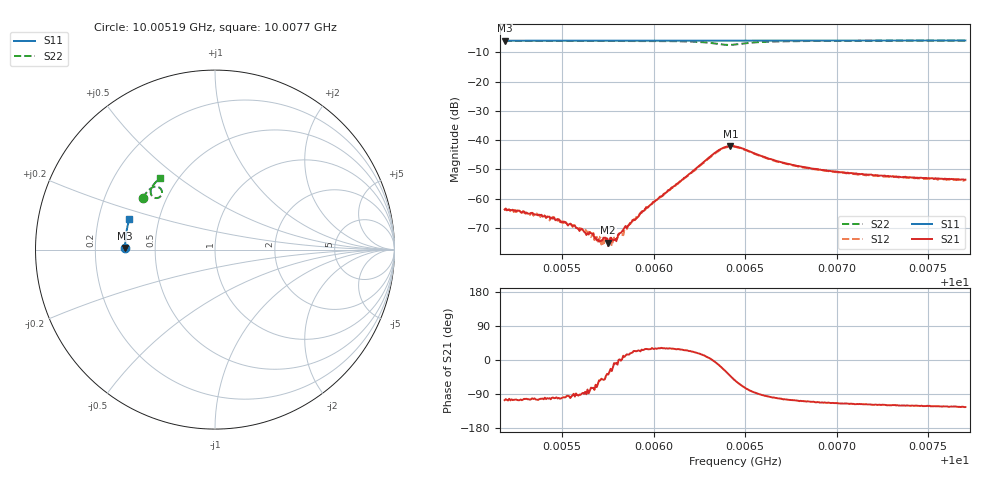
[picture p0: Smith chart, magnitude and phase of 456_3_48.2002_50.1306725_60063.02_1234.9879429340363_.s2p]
#  HZ  S  RI  R  50.00
! Rohde & Schwarz Vector Network Analyzer
! Rohde-Schwarz,ZNB20-2Port,1311601062101988,3.16
! Created: UTC 3/20/2024, 11:56:33 AM
! freq[Hz]  re:S11  im:S11  re:S21  im:S21  re:S12  im:S12  re:S22  im:S22
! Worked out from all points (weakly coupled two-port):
!   401 points, 10.00519 GHz to 10.0077 GHz, reference 50 ohm
!   highest |S21| = -42.01 dB at 10.00642 GHz (marker M1); lowest = -75.0 dB at 10.00575 GHz (marker M2)
!   lowest |S11| = -6.0 dB at 10.00519 GHz (marker M3), VSWR 3.00, Z = 16.6 + j0.406 ohm
!   |S11| at or under -10 dB: nowhere
!   |S22| runs from -7.4 to -6.0 dB; largest |S21 - S12| = 0.00047
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1.0005186e10  -0.5005 0.00915  -0.000179 -0.000627  -0.000148 -0.000629  -0.4027 0.2882
1.000545e10  -0.5004 0.0262  -7.11e-05 -0.000446  -8.13e-05 -0.00048  -0.3921 0.3039
1.0005557e10  -0.5002 0.0333  -1.85e-05 -0.000342  -1e-05 -0.000329  -0.3873 0.3103
1.0005607e10  -0.5001 0.0365  7.29e-06 -0.000303  -1.53e-06 -0.000303  -0.3851 0.3134
1.0005633e10  -0.5 0.0381  -1.6e-06 -0.000239  2.3e-05 -0.000279  -0.3838 0.3149
1.0005658e10  -0.4999 0.0398  7.48e-05 -0.000245  6e-05 -0.000214  -0.3824 0.3163
1.0005702e10  -0.5 0.0427  0.000109 -0.000148  7.93e-05 -0.000184  -0.3804 0.319
1.0005733e10  -0.4996 0.0447  0.000141 -0.000172  0.000155 -0.000136  -0.3786 0.3211
1.0005752e10  -0.4996 0.046  0.000139 -0.00011  0.000114 -0.000103  -0.3775 0.3222
1.0005765e10  -0.4996 0.0468  0.000201 -8.66e-05  0.000159 -0.000104  -0.3767 0.323
1.000579e10  -0.4997 0.0484  0.000201 -3.5e-05  0.000202 -3.84e-05  -0.3754 0.3247
1.0005834e10  -0.4993 0.0512  0.000289 5.74e-05  0.000231 5.02e-05  -0.3728 0.3275
1.0005916e10  -0.499 0.0565  0.000442 0.000207  0.000435 0.000228  -0.3674 0.3329
1.0006029e10  -0.4982 0.0639  0.00088 0.000533  0.000849 0.00054  -0.3582 0.3405
1.0006337e10  -0.4953 0.0837  0.00608 -0.000641  0.00598 -0.000309  -0.2987 0.3328
1.0006381e10  -0.4947 0.0862  0.00675 -0.00306  0.00678 -0.00262  -0.296 0.3106
1.0006419e10  -0.4945 0.0884  0.00585 -0.00535  0.00599 -0.0049  -0.308 0.2928
1.0006444e10  -0.4944 0.0899  0.00458 -0.0063  0.00485 -0.00597  -0.3207 0.2874
1.0006671e10  -0.4924 0.1045  -0.000781 -0.00434  -0.000552 -0.00429  -0.358 0.3289
1.0006866e10  -0.4902 0.1169  -0.00114 -0.00304  -0.000982 -0.00302  -0.3496 0.3507
1.0007288e10  -0.484 0.1434  -0.00118 -0.00208  -0.00105 -0.0021  -0.3278 0.378
1.0007703e10  -0.4766 0.1691  -0.00119 -0.00175  -0.00103 -0.00176  -0.3065 0.3985
